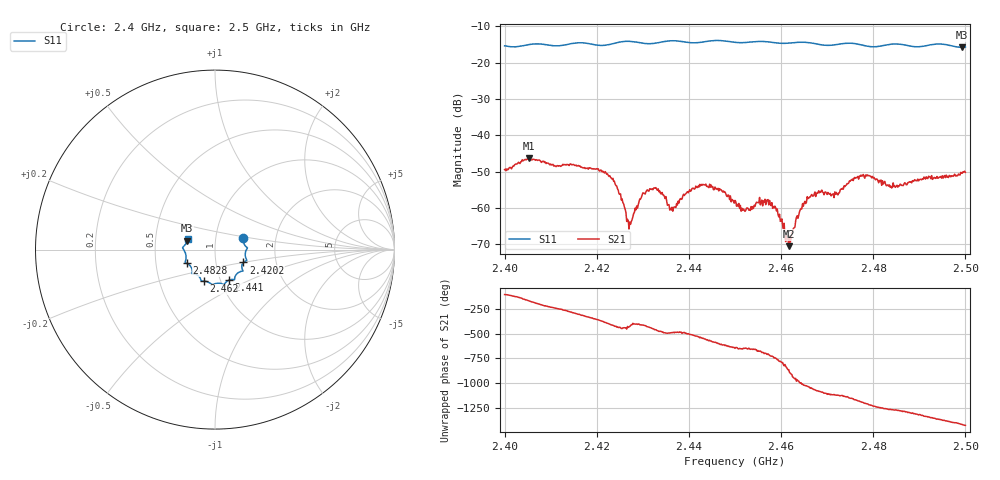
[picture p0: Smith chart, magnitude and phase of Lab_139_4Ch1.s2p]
# Hz S RI R 50
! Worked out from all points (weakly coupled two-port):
!   601 points, 2.4 GHz to 2.5 GHz, reference 50 ohm
!   highest |S21| = -46.37 dB at 2.4053 GHz (marker M1); lowest = -70.5 dB at 2.4617 GHz (marker M2)
!   lowest |S11| = -15.8 dB at 2.4992 GHz (marker M3), VSWR 1.39, Z = 36.5 + j3.68 ohm
!   |S11| at or under -10 dB: start of sweep to end of sweep
!   S12 and S22 are empty: the file has one direction only
!   S11 on the Smith chart (normalised r, x): 2.4 GHz: 1.36, +0.17; 2.4202 GHz: 1.36, -0.20; 2.441 GHz: 1.10, -0.39; 2.462 GHz: 0.84, -0.30; 2.4828 GHz: 0.72, -0.11; 2.5 GHz: 0.73, +0.09
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2.4e9  0.1581 0.0623  -0.000812 -0.00326  0 0  0 0
2.405333e9  0.1766 0.0128  -0.00471 -0.000911  0 0  0 0
2.416667e9  0.1773 -0.0608  0.00254 0.00262  0 0  0 0
2.420167e9  0.158 -0.0713  0.00343 0.000122  0 0  0 0
2.423833e9  0.151 -0.1057  0.00106 -0.00206  0 0  0 0
2.427e9  0.156 -0.1192  0.000164 -0.000486  0 0  0 0
2.430333e9  0.1331 -0.1263  0.000874 -0.00132  0 0  0 0
2.433333e9  0.1116 -0.151  -0.000667 -0.0017  0 0  0 0
2.436333e9  0.1088 -0.1674  -0.000622 -0.000808  0 0  0 0
2.441e9  0.0783 -0.1699  -0.0017 -0.000781  0 0  0 0
2.45e9  0.0282 -0.1878  0.00038 0.00121  0 0  0 0
2.4575e9  -0.0226 -0.1904  0.00126 4.64e-05  0 0  0 0
2.461667e9  -0.0578 -0.1759  -0.000238 -0.000178  0 0  0 0
2.462e9  -0.0606 -0.1757  -0.000337 -1.21e-05  0 0  0 0
2.4645e9  -0.0751 -0.1754  0.000335 0.000907  0 0  0 0
2.466667e9  -0.0788 -0.1682  0.00136 0.000705  0 0  0 0
2.472e9  -0.1136 -0.1355  0.00123 -0.00107  0 0  0 0
2.4775e9  -0.1269 -0.1198  -0.00103 -0.00253  0 0  0 0
2.482833e9  -0.1574 -0.0766  -0.00202 -2.65e-05  0 0  0 0
2.483333e9  -0.1606 -0.0752  -0.00198 0.000181  0 0  0 0
2.499167e9  -0.1546 0.0492  0.00272 0.00127  0 0  0 0
2.5e9  -0.1521 0.0609  0.00299 0.000711  0 0  0 0
